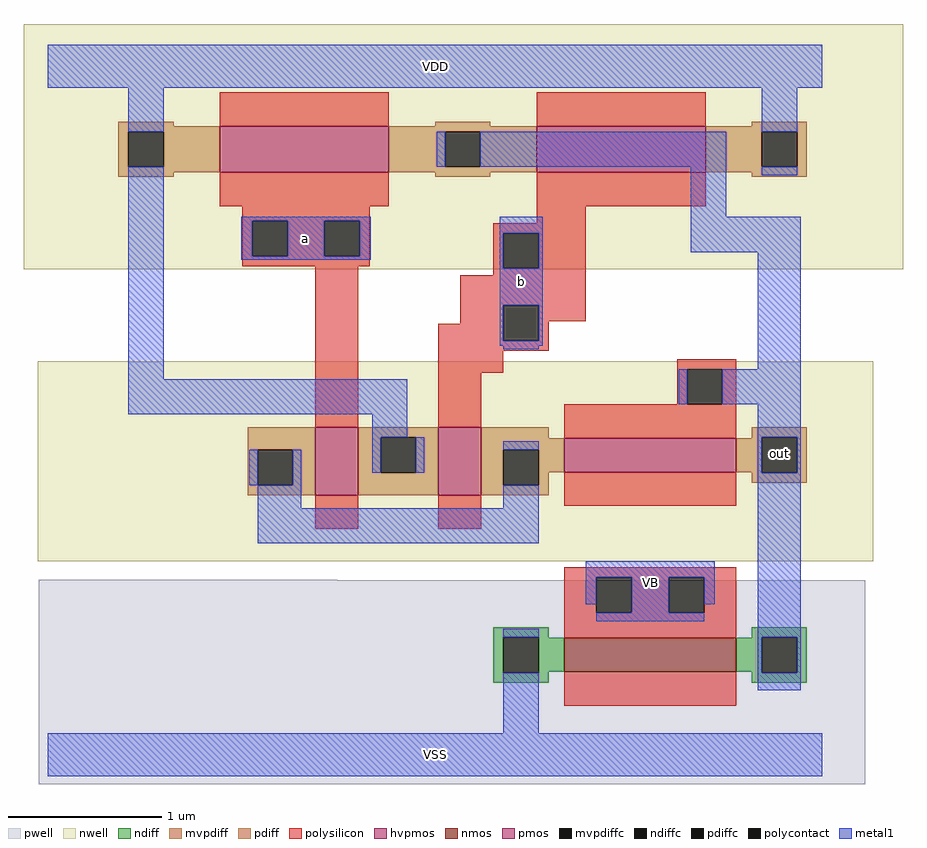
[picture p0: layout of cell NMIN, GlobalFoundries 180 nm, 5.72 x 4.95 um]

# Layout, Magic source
magic
tech gf180mcuD
magscale 1 10
<< nwell >>
rect -31 632 1113 951
rect -13 252 1074 512
<< pwell >>
rect -12 227 377 228
rect -12 -38 1064 227
<< nmos >>
rect 672 108 896 152
<< pmos >>
rect 348 338 404 426
rect 508 338 564 426
rect 672 368 896 412
<< hvpmos >>
rect 224 758 444 818
rect 636 758 856 818
<< ndiff >>
rect 580 153 652 166
rect 580 107 593 153
rect 639 152 652 153
rect 916 153 988 166
rect 916 152 929 153
rect 639 108 672 152
rect 896 108 929 152
rect 639 107 652 108
rect 580 94 652 107
rect 916 107 929 108
rect 975 107 988 153
rect 916 94 988 107
<< pdiff >>
rect 260 397 348 426
rect 260 351 273 397
rect 319 351 348 397
rect 260 338 348 351
rect 404 413 508 426
rect 404 367 433 413
rect 479 367 508 413
rect 404 338 508 367
rect 564 412 652 426
rect 916 413 988 426
rect 916 412 929 413
rect 564 397 672 412
rect 564 351 593 397
rect 639 368 672 397
rect 896 368 929 412
rect 639 351 652 368
rect 564 338 652 351
rect 916 367 929 368
rect 975 367 988 413
rect 916 354 988 367
<< mvpdiff >>
rect 92 818 164 824
rect 504 818 576 824
rect 916 818 988 824
rect 92 811 224 818
rect 92 765 105 811
rect 151 765 224 811
rect 92 758 224 765
rect 444 811 636 818
rect 444 765 517 811
rect 563 765 636 811
rect 444 758 636 765
rect 856 811 988 818
rect 856 765 929 811
rect 975 765 988 811
rect 856 758 988 765
rect 92 752 164 758
rect 504 752 576 758
rect 916 752 988 758
<< ndiffc >>
rect 593 107 639 153
rect 929 107 975 153
<< pdiffc >>
rect 273 351 319 397
rect 433 367 479 413
rect 593 351 639 397
rect 929 367 975 413
<< mvpdiffc >>
rect 105 765 151 811
rect 517 765 563 811
rect 929 765 975 811
<< polysilicon >>
rect 224 818 444 862
rect 636 818 856 862
rect 224 714 444 758
rect 636 714 856 758
rect 253 695 419 714
rect 253 649 266 695
rect 312 649 360 695
rect 406 649 419 695
rect 636 692 700 714
rect 253 636 419 649
rect 580 679 700 692
rect 348 426 404 636
rect 580 633 593 679
rect 639 633 700 679
rect 580 624 700 633
rect 537 585 700 624
rect 537 561 593 585
rect 508 539 593 561
rect 639 564 700 585
rect 639 539 652 564
rect 508 526 652 539
rect 508 497 593 526
rect 819 502 896 515
rect 508 426 564 497
rect 819 456 832 502
rect 878 456 896 502
rect 672 412 896 456
rect 348 294 404 338
rect 508 294 564 338
rect 672 324 896 368
rect 672 231 896 244
rect 672 185 714 231
rect 760 185 808 231
rect 854 185 896 231
rect 672 152 896 185
rect 672 64 896 108
<< polycontact >>
rect 266 649 312 695
rect 360 649 406 695
rect 593 633 639 679
rect 593 539 639 585
rect 832 456 878 502
rect 714 185 760 231
rect 808 185 854 231
<< metal1 >>
rect 0 868 1008 924
rect 105 811 151 868
rect 929 811 975 868
rect 506 765 517 811
rect 563 765 883 811
rect 105 489 151 765
rect 837 700 883 765
rect 929 754 975 765
rect 252 695 420 700
rect 252 649 266 695
rect 312 649 360 695
rect 406 649 420 695
rect 252 644 420 649
rect 588 679 644 700
rect 588 633 593 679
rect 639 633 644 679
rect 837 654 980 700
rect 588 585 644 633
rect 588 539 593 585
rect 639 539 644 585
rect 588 532 644 539
rect 593 528 639 532
rect 924 502 980 654
rect 105 443 468 489
rect 821 456 832 502
rect 878 456 980 502
rect 422 413 468 443
rect 924 413 980 456
rect 262 351 273 397
rect 319 351 330 397
rect 422 367 433 413
rect 479 367 490 413
rect 593 397 639 408
rect 273 321 330 351
rect 593 321 639 351
rect 273 275 639 321
rect 924 367 929 413
rect 975 367 980 413
rect 700 231 868 252
rect 700 196 714 231
rect 760 185 808 231
rect 854 196 868 231
rect 714 174 854 185
rect 593 153 639 164
rect 593 28 639 107
rect 924 153 980 367
rect 924 107 929 153
rect 975 107 980 153
rect 924 84 980 107
rect 0 -28 1008 28
<< labels >>
rlabel metal1 0 -28 1008 28 0 VSS
port 1 nsew ground bidirectional
rlabel metal1 0 868 1008 924 0 VDD
port 2 nsew power bidirectional
rlabel metal1 924 84 980 700 0 out
port 4 nsew signal output
rlabel metal1 252 644 420 700 0 a
port 5 nsew signal input
rlabel metal1 588 532 644 700 0 b
port 6 nsew signal input
rlabel metal1 700 196 868 252 0 VB
port 7 nsew signal input
<< properties >>
string FIXED_BBOX 0 0 1008 896
string fixed_BBOX 0 0 1008 896
string LEFclass core
string LEFsite site056um
<< end >>
